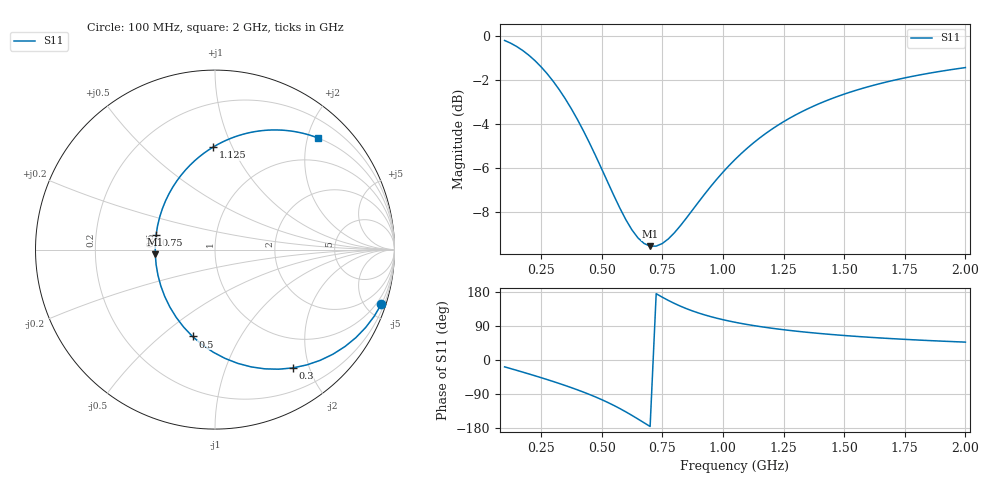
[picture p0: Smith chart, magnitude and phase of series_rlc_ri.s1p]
! Series RLC demo: R = 25 ohm, L = 10 nH, C = 5 pF
! Generated by scripts/generate_examples.py, demo data, not a measurement
# GHz S RI R 50
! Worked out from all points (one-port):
!   77 points, 100 MHz to 2 GHz, reference 50 ohm
!   lowest |S11| = -9.5 dB at 700 MHz (marker M1), VSWR 2.00, Z = 25 - j1.49 ohm
!   |S11| at or under -10 dB: nowhere
!   S11 on the Smith chart (normalised r, x): 100 MHz: 0.50, -6.24; 300 MHz: 0.50, -1.75; 500 MHz: 0.50, -0.64; 750 MHz: 0.50, +0.09; 1.125 GHz: 0.50, +0.85; 2 GHz: 0.50, +2.19
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0.1  0.9272 -0.303
0.15  0.8396 -0.4338
0.2  0.7234 -0.5407
0.25  0.5852 -0.6172
0.3  0.4335 -0.6591
0.35  0.2774 -0.6643
0.375  0.2009 -0.6534
0.425  0.0563 -0.6064
0.45  -0.0097 -0.5716
0.5  -0.1253 -0.4838
0.55  -0.2158 -0.378
0.575  -0.2511 -0.3208
0.625  -0.3019 -0.2024
0.675  -0.328 -0.084
0.7  -0.3328 -0.0265
0.75  -0.3282 0.0829
0.825  -0.293 0.2285
0.925  -0.2122 0.3832
0.975  -0.1639 0.4441
1.05  -0.0875 0.517
1.125  -0.0105 0.5712
1.2  0.0641 0.6099
1.3  0.157 0.6429
1.4  0.2409 0.6602
1.525  0.3329 0.6667
1.65  0.4115 0.6621
1.775  0.4786 0.6506
2  0.5755 0.6211
